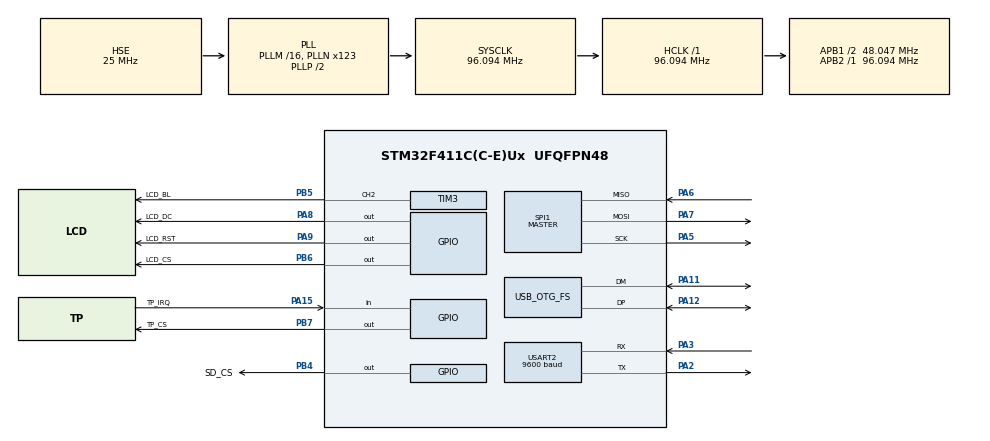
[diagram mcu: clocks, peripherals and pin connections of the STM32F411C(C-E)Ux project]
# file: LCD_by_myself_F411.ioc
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Mcu.Family=STM32F4
Mcu.Name=STM32F411C(C-E)Ux
Mcu.Package=UFQFPN48
NVIC.OTG_FS_IRQn=true\:0\:0\:false\:false\:true\:false\:true\:true
NVIC.PriorityGroup=NVIC_PRIORITYGROUP_4
NVIC.USART2_IRQn=true\:0\:0\:false\:false\:true\:true\:true\:true
PA11.Mode=Device_Only
PA11.Signal=USB_OTG_FS_DM
PA12.Mode=Device_Only
PA12.Signal=USB_OTG_FS_DP
PA13.Mode=Serial_Wire
PA13.Signal=SYS_JTMS-SWDIO
PA14.Mode=Serial_Wire
PA14.Signal=SYS_JTCK-SWCLK
PA15.GPIO_Label=TP_IRQ
PA15.Signal=GPIO_Input
PA2.Mode=Asynchronous
PA2.Signal=USART2_TX
PA3.Mode=Asynchronous
PA3.Signal=USART2_RX
PA5.Mode=Full_Duplex_Master
PA5.Signal=SPI1_SCK
PA6.Mode=Full_Duplex_Master
PA6.Signal=SPI1_MISO
PA7.Mode=Full_Duplex_Master
PA7.Signal=SPI1_MOSI
PA8.GPIO_Label=LCD_DC
PA8.Signal=GPIO_Output
PA9.GPIO_Label=LCD_RST
PA9.Signal=GPIO_Output
PB3.Signal=SYS_JTDO-SWO
PB4.GPIO_Label=SD_CS
PB4.Signal=GPIO_Output
PB5.GPIO_Label=LCD_BL
PB5.Signal=S_TIM3_CH2
PB6.GPIO_Label=LCD_CS
PB6.Signal=GPIO_Output
PB7.GPIO_Label=TP_CS
PB7.Signal=GPIO_Output
PH0\ -\ OSC_IN.Mode=HSE-External-Oscillator
PH0\ -\ OSC_IN.Signal=RCC_OSC_IN
PH1\ -\ OSC_OUT.Mode=HSE-External-Oscillator
PH1\ -\ OSC_OUT.Signal=RCC_OSC_OUT
ProjectManager.HeapSize=0x200
ProjectManager.StackSize=0x400
ProjectManager.TargetToolchain=STM32CubeIDE
RCC.48MHZClocksFreq_Value=48046875
RCC.AHBFreq_Value=96093750
RCC.APB1CLKDivider=RCC_HCLK_DIV2
RCC.APB1Freq_Value=48046875
RCC.APB1TimFreq_Value=96093750
RCC.APB2Freq_Value=96093750
RCC.APB2TimFreq_Value=96093750
RCC.CortexFreq_Value=96093750
RCC.HCLKFreq_Value=96093750
RCC.HSE_VALUE=25000000
RCC.HSI_VALUE=16000000
RCC.LSE_VALUE=32768
RCC.PLLN=123
RCC.SYSCLKFreq_VALUE=96093750
RCC.SYSCLKSource=RCC_SYSCLKSOURCE_PLLCLK
RCC.VCOOutputFreq_Value=192187500
SH.S_TIM3_CH2.0=TIM3_CH2,PWM Generation2 CH2
SPI1.BaudRatePrescaler=SPI_BAUDRATEPRESCALER_8
SPI1.CalculateBaudRate=12.011718 MBits/s
SPI1.Direction=SPI_DIRECTION_2LINES
SPI1.Mode=SPI_MODE_MASTER
SPI1.VirtualType=VM_MASTER
TIM3.Channel-PWM\ Generation2\ CH2=TIM_CHANNEL_2
USART2.BaudRate=9600
USART2.VirtualMode=VM_ASYNC
USART2.WordLength=WORDLENGTH_8B
USB_DEVICE.CLASS_NAME_FS=CDC
USB_DEVICE.VirtualMode=Cdc
USB_DEVICE.VirtualModeFS=Cdc_FS
USB_OTG_FS.VirtualMode=Device_Only
VP_USB_DEVICE_VS_USB_DEVICE_CDC_FS.Mode=CDC_FS
board=custom

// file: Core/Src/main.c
/* USER CODE BEGIN Header */
/**
  ******************************************************************************
  * @file           : main.c
  * @brief          : Main program body
  ******************************************************************************
  * @attention
  *
  * Copyright (c) 2025 STMicroelectronics.
  * All rights reserved.
  *
  * This software is licensed under terms that can be found in the LICENSE file
  * in the root directory of this software component.
  * If no LICENSE file comes with this software, it is provided AS-IS.
  *
  ******************************************************************************
  */
/* USER CODE END Header */
#include "main.h"
#include "spi.h"
#include "tim.h"
#include "usart.h"
#include "usb_device.h"
#include "gpio.h"

/* USER CODE BEGIN Includes */
#include "DEV_Config.h"
#include "LCD_Driver.h"
#include "LCD_GUI.h"
#include "LCD_Touch.h"
#include "LCD_Bmp.h"
#include "usbd_cdc_if.h"
#include "Show_Lib.h"
#include "ec11.h"

/* USER CODE END Includes */

void SystemClock_Config(void);
/* USER CODE BEGIN PFP */
void USB_Send_Message(const char *msg);
int _write(int file, char *ptr, int len);

/* USER CODE END PFP */

int main(void)
{

  /* MCU Configuration--------------------------------------------------------*/

  /* Reset of all peripherals, Initializes the Flash interface and the Systick. */
  HAL_Init();

  /* Configure the system clock */
  SystemClock_Config();

  /* Initialize all configured peripherals */
  MX_GPIO_Init();
  MX_SPI1_Init();
  MX_TIM3_Init();
  MX_USART2_UART_Init();
  MX_USB_DEVICE_Init();
  /* USER CODE BEGIN 2 */
  printf("3.5inch TFT Touch Shield Demo\r\n");
  System_Init();

  LCD_SCAN_DIR Lcd_ScanDir = SCAN_DIR_DFT;//SCAN_DIR_DFT = D2U_L2R направление отрисовки?
  printf("Init LCD...\r\n");
  LCD_Init(Lcd_ScanDir, 64000); // управление яркостью
  printf("Init TouchPad...\r\n");
  TP_Init(Lcd_ScanDir);
  printf("Init SDcard...\r\n");
  SD_Init();
  printf("Install factory TP set...\r\n");
  TP_GetAdFac();//Get the default calibration factor
  printf("Initialization for Electronic load \r\n");
  LOAD_Init();

	/*
	printf("**********Show SD card pic**********\r\n");
	LCD_SCAN_DIR Bmp_ScanDir = D2U_R2L; // тут появляется ошибка
	LCD_Show_bmp(Bmp_ScanDir, Lcd_ScanDir);
	*/

/*
	printf("**********LCD Show**********\r\n");
	GUI_Show();
	Driver_Delay_ms(1000);
*/

/*
	printf("**********Touch Draw Board**********\r\n");
	TP_GetAdFac();//Get the default calibration factor
	TP_Dialog();//initialize the drawing board
*/

	uint32_t previousTick = 0;

	DEV_TIME sDev_time;
	sDev_time.Hour = 00;
	sDev_time.Min = 00;
	sDev_time.Sec = 00;

	LCD_Clear(LCD_BACKGROUND);
	TP_MenuDialog();

  /* USER CODE END 2 */

  /* Infinite loop */
  /* USER CODE BEGIN WHILE */
  while (1)
  {
	  //GUI_Show();
	  //LCD_Show_bmp(Bmp_ScanDir , Lcd_ScanDir);
	  //TP_DrawBoard();
	  //GUI_DisGrayMap(0, 0, gImage_ninja);

	  TP_MenuTouch();
	  TP_IndicationsUnit();

	  if (HAL_GetTick() - previousTick >= 1000) {
		  previousTick = HAL_GetTick();

		/*
		  UART_Send("Input something:\r\n");

		  char rxBuffer[64];
		  UART_ReceiveString(rxBuffer, sizeof(rxBuffer));
		  printf("Received: %s\r\n", rxBuffer);
		*/

		  sDev_time.Sec++;
		  GUI_Showtime(0, 0, 126, 25, &sDev_time, BLUE);
	  }
  }
    /* USER CODE END WHILE */

}

void SystemClock_Config(void)
{
  RCC_OscInitTypeDef RCC_OscInitStruct = {0};
  RCC_ClkInitTypeDef RCC_ClkInitStruct = {0};

  /** Configure the main internal regulator output voltage
  */
  __HAL_RCC_PWR_CLK_ENABLE();
  __HAL_PWR_VOLTAGESCALING_CONFIG(PWR_REGULATOR_VOLTAGE_SCALE1);

  /** Initializes the RCC Oscillators according to the specified parameters
  * in the RCC_OscInitTypeDef structure.
  */
  RCC_OscInitStruct.OscillatorType = RCC_OSCILLATORTYPE_HSE;
  RCC_OscInitStruct.HSEState = RCC_HSE_ON;
  RCC_OscInitStruct.PLL.PLLState = RCC_PLL_ON;
  RCC_OscInitStruct.PLL.PLLSource = RCC_PLLSOURCE_HSE;
  RCC_OscInitStruct.PLL.PLLM = 16;
  RCC_OscInitStruct.PLL.PLLN = 123;
  RCC_OscInitStruct.PLL.PLLP = RCC_PLLP_DIV2;
  RCC_OscInitStruct.PLL.PLLQ = 4;
  if (HAL_RCC_OscConfig(&RCC_OscInitStruct) != HAL_OK)
  {
    Error_Handler();
  }

  /** Initializes the CPU, AHB and APB buses clocks
  */
  RCC_ClkInitStruct.ClockType = RCC_CLOCKTYPE_HCLK|RCC_CLOCKTYPE_SYSCLK
                              |RCC_CLOCKTYPE_PCLK1|RCC_CLOCKTYPE_PCLK2;
  RCC_ClkInitStruct.SYSCLKSource = RCC_SYSCLKSOURCE_PLLCLK;
  RCC_ClkInitStruct.AHBCLKDivider = RCC_SYSCLK_DIV1;
  RCC_ClkInitStruct.APB1CLKDivider = RCC_HCLK_DIV2;
  RCC_ClkInitStruct.APB2CLKDivider = RCC_HCLK_DIV1;

  if (HAL_RCC_ClockConfig(&RCC_ClkInitStruct, FLASH_LATENCY_3) != HAL_OK)
  {
    Error_Handler();
  }
}

/* USER CODE BEGIN 4 */
void USB_Send_Message(const char *msg) {
	CDC_Transmit_FS((uint8_t*)msg, strlen(msg));
	HAL_Delay(10);
}

// Опционально: перенаправляем printf на SWO (удобно для отладки)
int _write(int file, char *ptr, int len) {
    for (int i = 0; i < len; i++) {
        ITM_SendChar(ptr[i]);
    }
    return len;
}

/* USER CODE END 4 */

void Error_Handler(void)
{
  __disable_irq();
  while (1)
  {
  }
}
